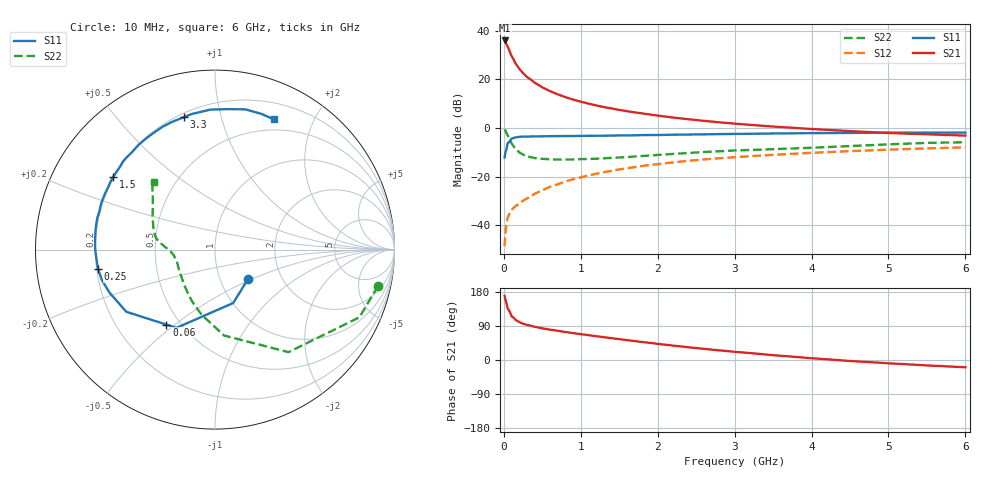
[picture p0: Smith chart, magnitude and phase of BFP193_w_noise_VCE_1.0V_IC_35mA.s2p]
! (c) 2017  Infineon Technologies AG, Munich
! Infineon Technologies  Discrete & RF Semiconductors
! BFP193
! VCE =  1.0 V,  IC =  35 mA
! Common Emitter S-Parameters:  Jan 2017
# GHz  S  MA  R  50
!  f  S11  S21  S12  S22
! GHz  MAG  ANG  MAG  ANG  MAG  ANG  MAG  ANG
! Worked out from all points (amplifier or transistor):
!   77 points, 10 MHz to 6 GHz, reference 50 ohm
!   highest |S21| = 35.9 dB at 10 MHz (marker M1)
!   |S21| within 3 dB of that: start of sweep to 55.98 MHz
!   unconditionally stable (mu >= 1): 554.4 MHz to 2.761 GHz
!   at 130 MHz: K = 0.57, MSG = 30.4 dB, |S12| = -32.8 dB
!   at 2.2 GHz: K = 1.02, MAG = 8.3 dB, |S12| = -14.2 dB
!   at 6 GHz: K = 0.97, MSG = 2.4 dB, |S12| = -8.0 dB
!   lowest NFmin = 1.29 dB at 450 MHz
!   S11 on the Smith chart (normalised r, x): 10 MHz: 1.36, -0.47; 60 MHz: 0.42, -0.47; 250 MHz: 0.21, -0.08; 1.5 GHz: 0.20, +0.31; 3.3 GHz: 0.22, +0.77; 6 GHz: 0.37, +1.49
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0.01  0.2462 -41.6  62.53 169.2  0.0037 81.5  0.9304 -12.6
0.02  0.3144 -71.1  60.29 159.1  0.0067 76.4  0.8889 -25.1
0.05  0.4855 -116.2  46.45 135.8  0.0144 58.4  0.7029 -54.4
0.06  0.4976 -122.9  42.86 133.0  0.0156 56.8  0.6479 -58.6
0.1  0.6038 -145.0  30.08 115.8  0.0205 52.3  0.4816 -83.9
0.15  0.6354 -158.0  21.37 106.2  0.0244 52.3  0.3708 -101.6
0.2  0.6531 -165.2  16.45 100.1  0.0277 55.0  0.3151 -114.1
0.25  0.6608 -170.7  13.3 95.7  0.0318 56.2  0.2814 -123.3
0.3  0.662 -174.4  11.17 92.7  0.0353 57.9  0.261 -131.0
0.4  0.6676 179.9  8.47 87.6  0.0439 61.5  0.2399 -141.6
0.5  0.6704 175.2  6.796 83.6  0.0521 63.0  0.2307 -149.2
0.6  0.6739 171.3  5.693 80.1  0.0615 63.2  0.2262 -155.0
0.7  0.6765 168.1  4.887 77.1  0.0691 64.5  0.2231 -159.4
0.9  0.6785 161.6  3.811 71.0  0.0875 63.5  0.2249 -165.6
1.1  0.6858 155.7  3.146 65.6  0.1051 62.4  0.2295 -170.3
1.5  0.6979 144.4  2.336 55.0  0.1394 58.0  0.246 -177.1
2.1  0.7168 128.5  1.705 40.4  0.1873 50.4  0.2839 176.1
3.1  0.7522 107.0  1.186 20.0  0.2551 37.0  0.3464 165.6
3.3  0.7579 103.3  1.122 16.5  0.2668 34.6  0.3551 162.9
4.1  0.7807 90.3  0.929 3.3  0.3114 25.0  0.3963 151.3
5.1  0.7986 76.5  0.774 -9.8  0.3604 13.3  0.464 138.5
6  0.7969 65.5  0.693 -19.2  0.3977 3.4  0.5065 132.0
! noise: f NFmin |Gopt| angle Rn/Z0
0.45  1.29  0.37  -172  0.08
0.9  1.35  0.4  -169  0.08
1.9  1.95  0.58  -135  0.18
2.4  2.29  0.62  -120  0.4
